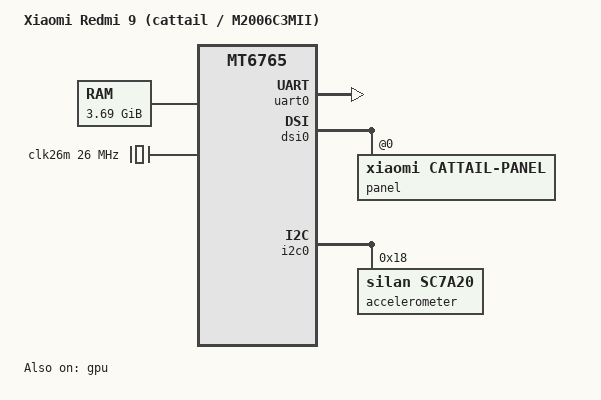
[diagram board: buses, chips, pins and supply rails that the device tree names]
// SPDX-License-Identifier: GPL-2.0-only
/*
 * Device Tree Source for Xiaomi Redmi 9 India (cattail / M2006C3MII)
 * MediaTek Helio G35 (MT6765G) SoC
 * SAPHAL OS Mobile Hardened Hardware Target
 */

/dts-v1/;

/ {
    model = "Xiaomi Redmi 9 (cattail / M2006C3MII)";
    compatible = "xiaomi,cattail", "mediatek,mt6765";
    #address-cells = <2>;
    #size-cells = <2>;

    aliases {
        serial0 = &uart0;
    };

    chosen {
        bootargs = "console=tty0 console=ttyMT0,921600n1 boot=saphal-init enforcing=1 panic=10";
        stdout-path = "serial0:921600n1";
    };

    /* Verified Memory: 3780 MB LPDDR4X at 0x40000000 */
    memory@40000000 {
        device_type = "memory";
        reg = <0x0 0x40000000 0x0 0xEC000000>;
    };

    cpus {
        #address-cells = <1>;
        #size-cells = <0>;

        /* Silver Cluster: 4x Cortex-A53 @ 1.8 GHz */
        cpu0: cpu@0 {
            device_type = "cpu";
            compatible = "arm,cortex-a53";
            reg = <0x0>;
            enable-method = "psci";
            clock-frequency = <1800000000>;
        };

        cpu1: cpu@1 {
            device_type = "cpu";
            compatible = "arm,cortex-a53";
            reg = <0x1>;
            enable-method = "psci";
            clock-frequency = <1800000000>;
        };

        cpu2: cpu@2 {
            device_type = "cpu";
            compatible = "arm,cortex-a53";
            reg = <0x2>;
            enable-method = "psci";
            clock-frequency = <1800000000>;
        };

        cpu3: cpu@3 {
            device_type = "cpu";
            compatible = "arm,cortex-a53";
            reg = <0x3>;
            enable-method = "psci";
            clock-frequency = <1800000000>;
        };

        /* Gold Cluster: 4x Cortex-A53 @ 2.3 GHz */
        cpu4: cpu@100 {
            device_type = "cpu";
            compatible = "arm,cortex-a53";
            reg = <0x100>;
            enable-method = "psci";
            clock-frequency = <2301000000>;
        };

        cpu5: cpu@101 {
            device_type = "cpu";
            compatible = "arm,cortex-a53";
            reg = <0x101>;
            enable-method = "psci";
            clock-frequency = <2301000000>;
        };

        cpu6: cpu@102 {
            device_type = "cpu";
            compatible = "arm,cortex-a53";
            reg = <0x102>;
            enable-method = "psci";
            clock-frequency = <2301000000>;
        };

        cpu7: cpu@103 {
            device_type = "cpu";
            compatible = "arm,cortex-a53";
            reg = <0x103>;
            enable-method = "psci";
            clock-frequency = <2301000000>;
        };
    };

    psci {
        compatible = "arm,psci-1.0", "arm,psci-0.2";
        method = "smc";
    };

    clocks {
        clk26m: osc26m {
            compatible = "fixed-clock";
            #clock-cells = <0>;
            clock-frequency = <26000000>;
            clock-output-names = "clk26m";
        };
    };

    soc {
        #address-cells = <2>;
        #size-cells = <2>;
        compatible = "simple-bus";
        interrupt-parent = <&gic>;
        ranges;

        /* ARM Generic Interrupt Controller (GICv2) */
        gic: interrupt-controller@0c000000 {
            compatible = "arm,gic-400";
            #interrupt-cells = <3>;
            interrupt-controller;
            reg = <0x0 0x0c000000 0x0 0x1000>,
                  <0x0 0x0c010000 0x0 0x2000>;
        };

        /* AP Debug UART0 */
        uart0: serial@11002000 {
            compatible = "mediatek,mt6765-uart", "mediatek,mt6577-uart";
            reg = <0x0 0x11002000 0x0 0x1000>;
            interrupts = <0 115 4>;
            clocks = <&clk26m>;
            status = "okay";
        };

        /* PowerVR Rogue GE8320 GPU */
        gpu: gpu@13000000 {
            compatible = "img,powervr-rogue-ge8320", "img,powervr-rogue";
            reg = <0x0 0x13000000 0x0 0x40000>;
            interrupts = <0 210 4>;
            status = "okay";
        };

        /* MIPI DSI Display Controller (720x1600 HD+) */
        dsi0: dsi@14014000 {
            compatible = "mediatek,mt6765-dsi";
            reg = <0x0 0x14014000 0x0 0x1000>;
            #address-cells = <1>;
            #size-cells = <0>;
            status = "okay";

            panel: panel@0 {
                compatible = "xiaomi,cattail-panel", "panel-mipi-dsi";
                reg = <0>;
                width-mm = <68>;
                height-mm = <151>;

                display-timings {
                    timing0: timing-720x1600 {
                        clock-frequency = <75000000>;
                        hactive = <720>;
                        vactive = <1600>;
                        hfront-porch = <40>;
                        hback-porch = <40>;
                        hsync-len = <20>;
                        vfront-porch = <20>;
                        vback-porch = <20>;
                        vsync-len = <4>;
                    };
                };
            };
        };

        /* I2C Sensor Bus */
        i2c0: i2c@11007000 {
            compatible = "mediatek,mt6765-i2c";
            reg = <0x0 0x11007000 0x0 0x1000>;
            #address-cells = <1>;
            #size-cells = <0>;

            /* Verified sc7a20 Accelerometer Sensor */
            accelerometer@18 {
                compatible = "silan,sc7a20";
                reg = <0x18>;
                interrupt-parent = <&gic>;
                interrupts = <0 134 4>;
            };
        };
    };
};
